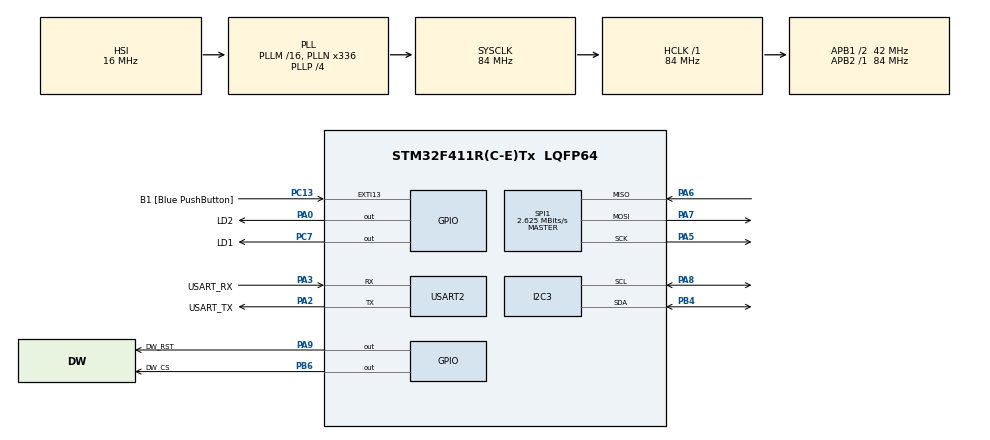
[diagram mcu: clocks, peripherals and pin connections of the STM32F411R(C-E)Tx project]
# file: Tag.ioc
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I2C3.I2C_Mode=I2C_Fast
Mcu.Family=STM32F4
Mcu.Name=STM32F411R(C-E)Tx
Mcu.Package=LQFP64
NVIC.PriorityGroup=NVIC_PRIORITYGROUP_0
PA0-WKUP.GPIO_Label=LD2
PA0-WKUP.Signal=GPIO_Output
PA13.GPIO_Label=TMS
PA13.Mode=Serial_Wire
PA13.Signal=SYS_JTMS-SWDIO
PA14.GPIO_Label=TCK
PA14.Mode=Serial_Wire
PA14.Signal=SYS_JTCK-SWCLK
PA2.GPIO_Label=USART_TX
PA2.Mode=Asynchronous
PA2.Signal=USART2_TX
PA3.GPIO_Label=USART_RX
PA3.Mode=Asynchronous
PA3.Signal=USART2_RX
PA5.Mode=Full_Duplex_Master
PA5.Signal=SPI1_SCK
PA6.Mode=Full_Duplex_Master
PA6.Signal=SPI1_MISO
PA7.Mode=Full_Duplex_Master
PA7.Signal=SPI1_MOSI
PA8.Mode=I2C
PA8.Signal=I2C3_SCL
PA9.GPIO_Label=DW_RST
PA9.GPIO_ModeDefaultOutputPP=GPIO_MODE_OUTPUT_OD
PA9.GPIO_Speed=GPIO_SPEED_FREQ_HIGH
PA9.Signal=GPIO_Output
PB3.GPIO_Label=SWO
PB3.Signal=SYS_JTDO-SWO
PB4.Mode=I2C
PB4.Signal=I2C3_SDA
PB6.GPIO_Label=DW_CS
PB6.GPIO_Speed=GPIO_SPEED_FREQ_HIGH
PB6.Signal=GPIO_Output
PC13-ANTI_TAMP.GPIO_Label=B1 [Blue PushButton]
PC13-ANTI_TAMP.GPIO_ModeDefaultEXTI=GPIO_MODE_IT_FALLING
PC13-ANTI_TAMP.Signal=GPXTI13
PC14-OSC32_IN.Mode=LSE-External-Oscillator
PC14-OSC32_IN.Signal=RCC_OSC32_IN
PC15-OSC32_OUT.Mode=LSE-External-Oscillator
PC15-OSC32_OUT.Signal=RCC_OSC32_OUT
PC7.GPIO_Label=LD1
PC7.Signal=GPIO_Output
PH0\ -\ OSC_IN.Mode=HSE-External-Clock-Source
PH0\ -\ OSC_IN.Signal=RCC_OSC_IN
PH1\ -\ OSC_OUT.Mode=HSE-External-Clock-Source
PH1\ -\ OSC_OUT.Signal=RCC_OSC_OUT
ProjectManager.HeapSize=0x200
ProjectManager.StackSize=0x8000
ProjectManager.TargetToolchain=MDK-ARM V5
RCC.48MHZClocksFreq_Value=84000000
RCC.AHBFreq_Value=84000000
RCC.APB1CLKDivider=RCC_HCLK_DIV2
RCC.APB1Freq_Value=42000000
RCC.APB1TimFreq_Value=84000000
RCC.APB2Freq_Value=84000000
RCC.APB2TimFreq_Value=84000000
RCC.CortexFreq_Value=84000000
RCC.FLatency-AdvancedSettings=FLASH_LATENCY_2
RCC.HCLKFreq_Value=84000000
RCC.HSE_VALUE=8000000
RCC.HSI_VALUE=16000000
RCC.PLLN=336
RCC.PLLP=RCC_PLLP_DIV4
RCC.SYSCLKFreq_VALUE=84000000
RCC.SYSCLKSource=RCC_SYSCLKSOURCE_PLLCLK
RCC.VCOOutputFreq_Value=336000000
SPI1.BaudRatePrescaler=SPI_BAUDRATEPRESCALER_32
SPI1.CalculateBaudRate=2.625 MBits/s
SPI1.Direction=SPI_DIRECTION_2LINES
SPI1.Mode=SPI_MODE_MASTER
SPI1.VirtualType=VM_MASTER
USART2.VirtualMode=VM_ASYNC
VP_CRC_VS_CRC.Mode=CRC_Activate
board=NUCLEO-F411RE

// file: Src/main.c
/* USER CODE BEGIN Header */
/**
  ******************************************************************************
  * @file           : main.c
  * @brief          : Main program body
  ******************************************************************************
  * @attention
  *
  * <h2><center>&copy; Copyright (c) 2019 STMicroelectronics.
  * All rights reserved.</center></h2>
  *
  * This software component is licensed by ST under BSD 3-Clause license,
  * the "License"; You may not use this file except in compliance with the
  * License. You may obtain a copy of the License at:
  *                        opensource.org/licenses/BSD-3-Clause
  *
  ******************************************************************************
  */
/* USER CODE END Header */

#include "main.h"
#include "crc.h"
#include "i2c.h"
#include "spi.h"
#include "usart.h"
#include "gpio.h"

/* USER CODE BEGIN Includes */
#include "stdio.h"
#include "ahrs.h"
#include "math.h"
#include "motion_fx.h"
#include "rtls.h"
#include "stdbool.h"
/* USER CODE END Includes */

/* USER CODE BEGIN PV */
int fputc(int ch, FILE *f)
{
	HAL_UART_Transmit(&huart2, (uint8_t*)&ch, 1, 10);
	return ch;
}

void setup(void)
{
  HAL_Delay(100);
	for (int i = 1; i < 128; i++)
  if (HAL_I2C_IsDeviceReady(&hi2c3, i << 1, 5, 100) == HAL_OK)
    printf("addr: 0x%X\r\n", i);
  bmp_init();
  imu_init();
  ahrs_init();
  dwm_init();
  printf("init done\r\n");
}

void loop(void)
{
  /* loop variables */
  static uint8_t anchor_addr = '1';
  short imu_status = 0;

  /* loop code */
  mpu_get_int_status(&imu_status);
  if (imu_status & MPU_INT_STATUS_DATA_READY)
  {
    /* loop time measurement */
    uint32_t start = HAL_GetTick();

    /* data acquisition */
    short mag[3], acc[3], gyr[3];
    mpu_get_compass_reg(mag, NULL);
    mpu_get_accel_reg(acc, NULL);
    mpu_get_gyro_reg(gyr, NULL);

    /* ahrs data build */
    MFX_input_t data_in;
    MFX_output_t data_out;
    for (int i = 0; i < 3; i++)
    {
      data_in.mag[i] = (mRes * mag[i]) / 50.0f;
      data_in.acc[i] = aRes * acc[i];
      data_in.gyro[i] = gRes * gyr[i];
    }

    /* magnetometer calibration check */
    MFX_MagCal_output_t magcal_data_out;
    MotionFX_MagCal_getParams(&magcal_data_out);

    /* run sensor fusion algorithm */
    if (magcal_data_out.cal_quality == MFX_MAGCALGOOD)
    {
      for (int i = 0; i < 3; i++)
        data_in.mag[i] = data_in.mag[i] - magcal_data_out.hi_bias[i];
      MotionFX_propagate(&data_out, &data_in, (float*)&SampleTime);
      MotionFX_update(&data_out, &data_in, (float*)&SampleTime, NULL);
      MotionFX_MagCal_init(1, 0); // disable magnetometer calibration
      HAL_GPIO_WritePin(LD1_GPIO_Port, LD1_Pin, GPIO_PIN_RESET);
      HAL_GPIO_TogglePin(LD2_GPIO_Port, LD2_Pin);
    }
    /* run magnetometer calibration */
    else
    {
      MFX_MagCal_input_t magcal_data_in = {
        .mag = { data_in.mag[0], data_in.mag[1], data_in.mag[2] },
        .time_stamp = HAL_GetTick(),
      };
      MotionFX_MagCal_run(&magcal_data_in);
      HAL_GPIO_TogglePin(LD1_GPIO_Port, LD1_Pin);
    }

    /* measure distance */
    float distance;
    HAL_StatusTypeDef ranging_status = dwm_main_ds_twr_tag(anchor_addr, data_out.heading_9X, &distance);
    anchor_addr = anchor_addr == '3' ? '1' : anchor_addr + 1;

    /* system report */
    printf("%d\t %0.2f\t %d\t %0.2f\r\n", ranging_status, distance, HAL_GetTick() - start, data_out.heading_9X);
  }
}
/* USER CODE END PV */

void SystemClock_Config(void);

int main(void)
{

  /* MCU Configuration--------------------------------------------------------*/

  /* Reset of all peripherals, Initializes the Flash interface and the Systick. */
  HAL_Init();

  /* Configure the system clock */
  SystemClock_Config();

  /* Initialize all configured peripherals */
  MX_GPIO_Init();
  MX_USART2_UART_Init();
  MX_SPI1_Init();
  MX_I2C3_Init();
  MX_CRC_Init();
  /* USER CODE BEGIN 2 */
  setup();
  /* USER CODE END 2 */

  /* Infinite loop */
  /* USER CODE BEGIN WHILE */
  while (1)
  {
    loop();
    /* USER CODE END WHILE */

  }
}

void SystemClock_Config(void)
{
  RCC_OscInitTypeDef RCC_OscInitStruct = {0};
  RCC_ClkInitTypeDef RCC_ClkInitStruct = {0};

  /** Configure the main internal regulator output voltage
  */
  __HAL_RCC_PWR_CLK_ENABLE();
  __HAL_PWR_VOLTAGESCALING_CONFIG(PWR_REGULATOR_VOLTAGE_SCALE1);
  /** Initializes the CPU, AHB and APB busses clocks
  */
  RCC_OscInitStruct.OscillatorType = RCC_OSCILLATORTYPE_HSI;
  RCC_OscInitStruct.HSIState = RCC_HSI_ON;
  RCC_OscInitStruct.HSICalibrationValue = RCC_HSICALIBRATION_DEFAULT;
  RCC_OscInitStruct.PLL.PLLState = RCC_PLL_ON;
  RCC_OscInitStruct.PLL.PLLSource = RCC_PLLSOURCE_HSI;
  RCC_OscInitStruct.PLL.PLLM = 16;
  RCC_OscInitStruct.PLL.PLLN = 336;
  RCC_OscInitStruct.PLL.PLLP = RCC_PLLP_DIV4;
  RCC_OscInitStruct.PLL.PLLQ = 4;
  if (HAL_RCC_OscConfig(&RCC_OscInitStruct) != HAL_OK)
  {
    Error_Handler();
  }
  /** Initializes the CPU, AHB and APB busses clocks
  */
  RCC_ClkInitStruct.ClockType = RCC_CLOCKTYPE_HCLK|RCC_CLOCKTYPE_SYSCLK
                              |RCC_CLOCKTYPE_PCLK1|RCC_CLOCKTYPE_PCLK2;
  RCC_ClkInitStruct.SYSCLKSource = RCC_SYSCLKSOURCE_PLLCLK;
  RCC_ClkInitStruct.AHBCLKDivider = RCC_SYSCLK_DIV1;
  RCC_ClkInitStruct.APB1CLKDivider = RCC_HCLK_DIV2;
  RCC_ClkInitStruct.APB2CLKDivider = RCC_HCLK_DIV1;

  if (HAL_RCC_ClockConfig(&RCC_ClkInitStruct, FLASH_LATENCY_2) != HAL_OK)
  {
    Error_Handler();
  }
}

void Error_Handler(void)
{
}

/************************ (C) COPYRIGHT STMicroelectronics *****END OF FILE****/
